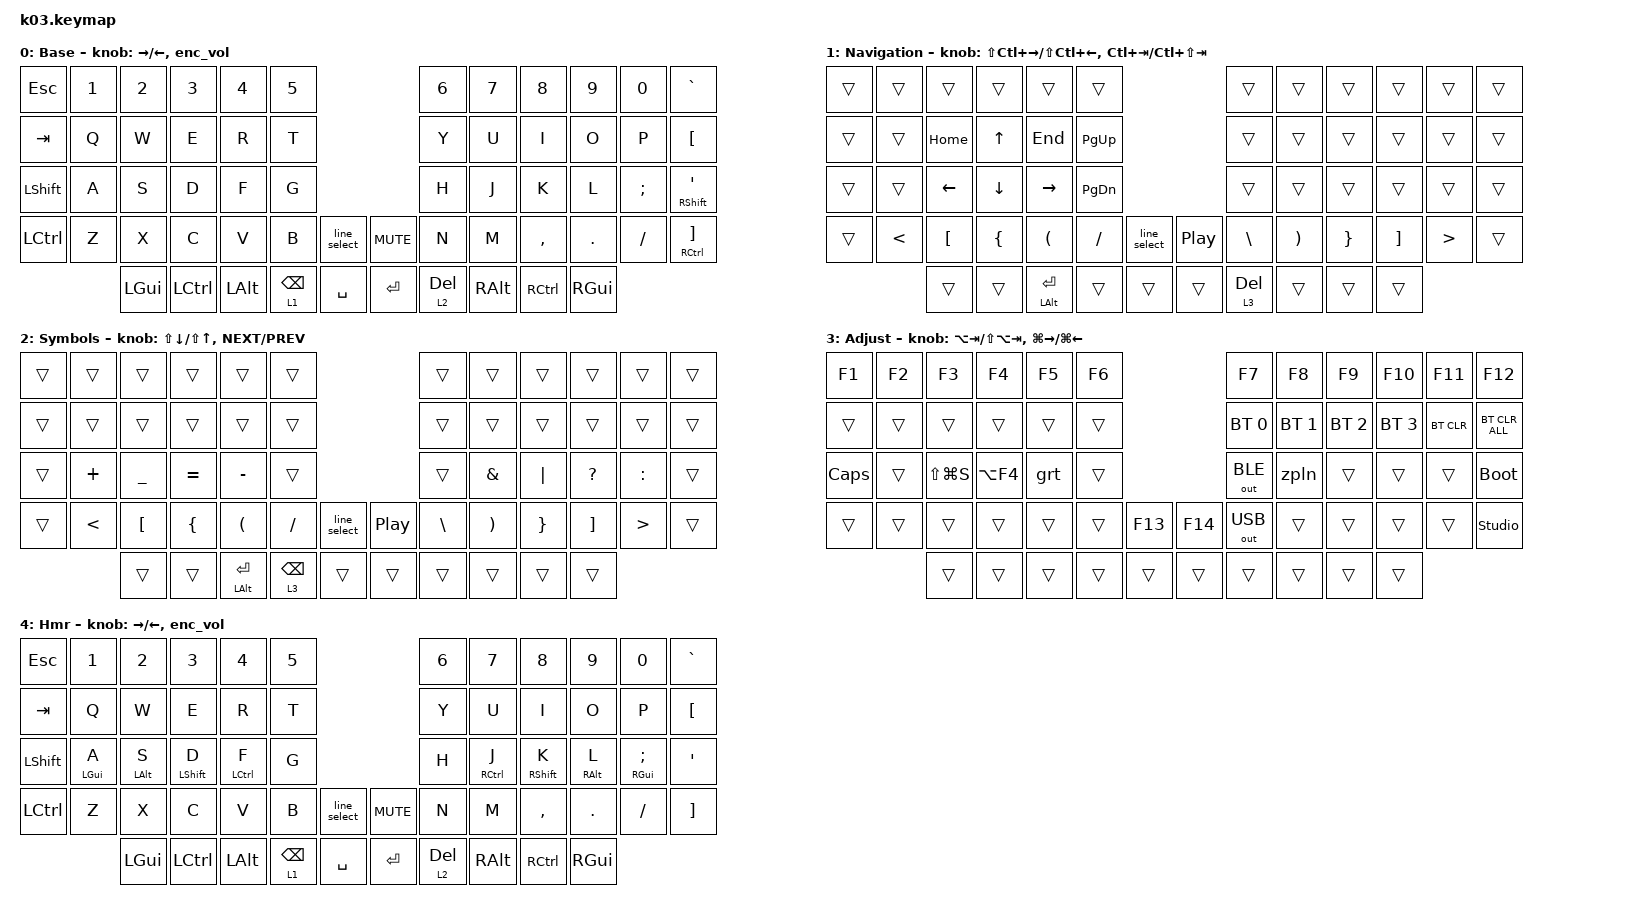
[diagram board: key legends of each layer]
#include "keys_ru.h"
#include <behaviors.dtsi>
#include <dt-bindings/zmk/bt.h>
#include <dt-bindings/zmk/keys.h>
#include <dt-bindings/zmk/outputs.h>

/ {
    behaviors {
        enc_vol: enc_vol {
            compatible = "zmk,behavior-sensor-rotate";
            label = "ENC_VOL";
            #sensor-binding-cells = <0>;
            bindings = <&kp C_VOL_UP>, <&kp C_VOL_DN>;
        };
    };

    combos {
        compatible = "zmk,combos";

        hmr_layer_toggle {
            bindings = <&tog 4>;
            key-positions = <0 11 54 55>;
        };
    };

    macros {
        line_select: line_select {
            compatible = "zmk,behavior-macro";
            #binding-cells = <0>;
            bindings = <&kp HOME &kp LS(END)>;
            label = "LINE_SELECT";
        };

        grt: grt {
            compatible = "zmk,behavior-macro";
            #binding-cells = <0>;
            bindings = <&kp LS(G) &kp E &kp R &kp N4 &kp L &kp T &kp N0 &kp F &kp LS(R) &kp N1 &kp V &kp N1 &kp N4>;
            label = "GRT";
        };

        zpln: zpln {
            compatible = "zmk,behavior-macro";
            #binding-cells = <0>;
            bindings = <&kp LS(W) &kp N3 &kp LS(G) &kp N0 &kp N1 &kp N &kp G &kp LS(D) &kp N0 &kp W &kp N &kp LS(N) &kp N0 &kp W &kp EXCL>;
            label = "ZPLN";
        };
    };

    keymap {
        compatible = "zmk,keymap";

        base {
            bindings = <
&kp ESC         &kp N1  &kp N2    &kp N3     &kp N4        &kp N5                                       &kp N6        &kp N7         &kp N8     &kp N9    &kp N0    &kp GRAVE
&kp TAB         &kp Q   &kp W     &kp E      &kp R         &kp T                                        &kp Y         &kp U          &kp I      &kp O     &kp P     &kp LEFT_BRACKET
&kp LEFT_SHIFT  &kp A   &kp S     &kp D      &kp F         &kp G                                        &kp H         &kp J          &kp K      &kp L     &kp SEMI  &mt RIGHT_SHIFT SQT
&kp LCTRL       &kp Z   &kp X     &kp C      &kp V         &kp B            &line_select    &kp C_MUTE  &kp N         &kp M          &kp COMMA  &kp DOT   &kp FSLH  &mt RCTRL RIGHT_BRACKET
                        &kp LGUI  &kp LCTRL  &kp LEFT_ALT  &lt 1 BACKSPACE  &kp SPACE       &kp ENTER   &lt 2 DELETE  &kp RIGHT_ALT  &kp RCTRL  &kp RGUI
            >;

            display-name = "Base";
            sensor-bindings = <&inc_dec_kp RIGHT_ARROW LEFT_ARROW>, <&enc_vol>;
        };

        nav {
            display-name = "Navigation";
            bindings = <
&trans  &trans         &trans          &trans          &trans                &trans                                   &trans         &trans                 &trans           &trans    &trans            &trans
&trans  &trans         &kp HOME        &kp UP_ARROW    &kp END               &kp PAGE_UP                              &trans         &trans                 &trans           &trans    &trans            &trans
&trans  &trans         &kp LEFT_ARROW  &kp DOWN_ARROW  &kp RIGHT_ARROW       &kp PAGE_DOWN                            &trans         &trans                 &trans           &trans    &trans            &trans
&trans  &kp LESS_THAN  &kp LBKT        &kp LEFT_BRACE  &kp LEFT_PARENTHESIS  &kp SLASH      &line_select    &kp C_PP  &kp BACKSLASH  &kp RIGHT_PARENTHESIS  &kp RIGHT_BRACE  &kp RBKT  &kp GREATER_THAN  &trans
                       &trans          &trans          &mt LEFT_ALT ENTER    &trans         &trans          &trans    &lt 3 DELETE   &trans                 &trans           &trans
            >;

            sensor-bindings =
                <&inc_dec_kp LS(LC(RIGHT_ARROW)) LS(LC(LEFT_ARROW))>,
                <&inc_dec_kp LC(TAB) LC(LS(TAB))>;
        };

        sym {
            display-name = "Symbols";
            bindings = <
&trans  &trans         &trans          &trans          &trans                &trans                                     &trans    &trans                 &trans           &trans        &trans            &trans
&trans  &trans         &trans          &trans          &trans                &trans                                     &trans    &trans                 &trans           &trans        &trans            &trans
&trans  &kp PLUS       &kp UNDERSCORE  &kp EQUAL       &kp MINUS             &trans                                     &trans    &kp AMPS               &kp PIPE         &kp QUESTION  &kp COLON         &trans
&trans  &kp LESS_THAN  &kp LBKT        &kp LEFT_BRACE  &kp LEFT_PARENTHESIS  &kp FSLH         &line_select    &kp C_PP  &kp BSLH  &kp RIGHT_PARENTHESIS  &kp RIGHT_BRACE  &kp RBKT      &kp GREATER_THAN  &trans
                       &trans          &trans          &mt LEFT_ALT ENTER    &lt 3 BACKSPACE  &trans          &trans    &trans    &trans                 &trans           &trans
            >;

            sensor-bindings =
                <&inc_dec_kp LS(DOWN_ARROW) LS(UP_ARROW)>,
                <&inc_dec_kp C_NEXT C_PREV>;
        };

        adj {
            bindings = <
&kp F1    &kp F2  &kp F3         &kp F4      &kp F5  &kp F6                      &kp F7        &kp F8        &kp F9        &kp F10       &kp F11     &kp F12
&trans    &trans  &trans         &trans      &trans  &trans                      &bt BT_SEL 0  &bt BT_SEL 1  &bt BT_SEL 2  &bt BT_SEL 3  &bt BT_CLR  &bt BT_CLR_ALL
&kp CAPS  &trans  &kp LS(LG(S))  &kp LA(F4)  &grt    &trans                      &out OUT_BLE  &zpln         &trans        &trans        &trans      &bootloader
&trans    &trans  &trans         &trans      &trans  &trans  &kp F13    &kp F14  &out OUT_USB  &trans        &trans        &trans        &trans      &studio_unlock
                  &trans         &trans      &trans  &trans  &trans     &trans   &trans        &trans        &trans        &trans
            >;

            display-name = "Adjust";
            sensor-bindings =
                <&inc_dec_kp LA(TAB) LS(LA(TAB))>,
                <&inc_dec_kp LG(RIGHT_ARROW) LG(LEFT_ARROW)>;
        };

        hmr_base {
            display-name = "Hmr";
            bindings = <
&kp ESC         &kp N1          &kp N2          &kp N3            &kp N4        &kp N5                                       &kp N6        &kp N7         &kp N8             &kp N9           &kp N0              &kp GRAVE
&kp TAB         &kp Q           &kp W           &kp E             &kp R         &kp T                                        &kp Y         &kp U          &kp I              &kp O            &kp P               &kp LEFT_BRACKET
&kp LEFT_SHIFT  &mt LEFT_GUI A  &mt LEFT_ALT S  &mt LEFT_SHIFT D  &mt LCTRL F   &kp G                                        &kp H         &mt RCTRL J    &mt RIGHT_SHIFT K  &mt RIGHT_ALT L  &mt RIGHT_GUI SEMI  &kp SQT
&kp LCTRL       &kp Z           &kp X           &kp C             &kp V         &kp B            &line_select    &kp C_MUTE  &kp N         &kp M          &kp COMMA          &kp DOT          &kp FSLH            &kp RIGHT_BRACKET
                                &kp LGUI        &kp LCTRL         &kp LEFT_ALT  &lt 1 BACKSPACE  &kp SPACE       &kp ENTER   &lt 2 DELETE  &kp RIGHT_ALT  &kp RCTRL          &kp RIGHT_GUI
            >;

            sensor-bindings = <&inc_dec_kp RIGHT_ARROW LEFT_ARROW>, <&enc_vol>;
        };
    };
};
